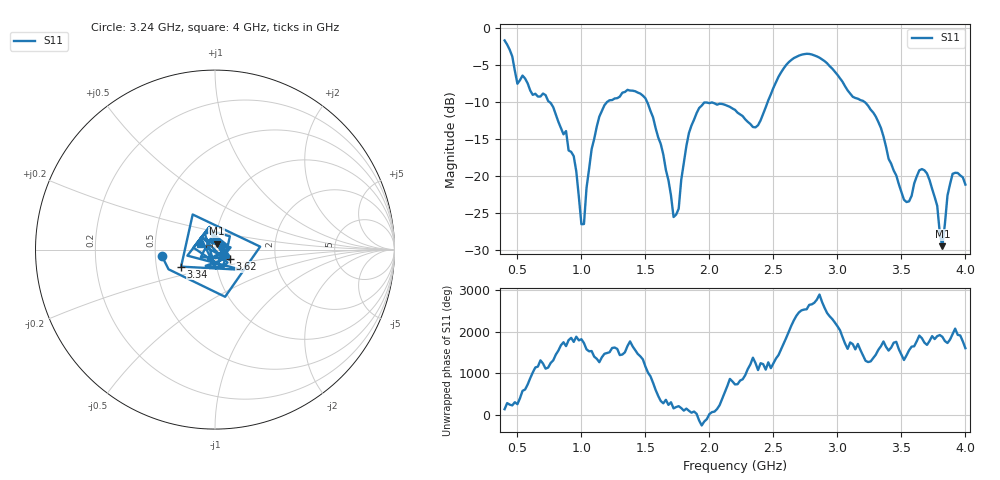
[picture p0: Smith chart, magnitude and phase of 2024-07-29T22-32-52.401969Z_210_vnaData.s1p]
!Created with skrf (http://scikit-rf.org).
# Hz S RI R 50.0
!freq ReS11 ImS11
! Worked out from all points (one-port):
!   181 points, 400 MHz to 4 GHz, reference 50 ohm
!   lowest |S11| = -29.5 dB at 3.82 GHz (marker M1), VSWR 1.07, Z = 50.8 + j3.27 ohm
!   |S11| at or under -10 dB: 751.6 MHz to 1.199 GHz (447.5 MHz wide, 45.9 % of centre); 1.514 GHz to 2.455 GHz (940.7 MHz wide, 47.4 % of centre); 3.214 GHz to end of sweep
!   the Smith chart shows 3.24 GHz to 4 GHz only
!   S11 on the Smith chart (normalised r, x): 3.24 GHz: 0.54, -0.04; 3.34 GHz: 0.67, -0.13; 3.62 GHz: 1.18, -0.12; 4 GHz: 0.85, +0.05
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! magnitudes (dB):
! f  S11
! 400 MHz  -1.6
! 500 MHz  -7.5
! 720 MHz  -9.0
! 860 MHz  -14.4
! 940 MHz  -17.3
! 1 GHz  -26.6
! 1.02 GHz  -26.5
! 1.08 GHz  -16.4
! 1.14 GHz  -12.0
! 1.3 GHz  -9.2
! 1.5 GHz  -9.5
! 1.64 GHz  -17.1
! 1.72 GHz  -25.6
! 1.76 GHz  -24.5
! 1.84 GHz  -14.2
! 1.92 GHz  -10.8
! 2.2 GHz  -11.0
! 2.38 GHz  -13.1
! 2.66 GHz  -4.0
! 3.1 GHz  -8.8
! 3.24 GHz  -10.5
! 3.34 GHz  -13.5
! 3.56 GHz  -23.5
! 3.62 GHz  -20.1
! 3.72 GHz  -20.6
! 3.82 GHz  -29.5
! 3.9 GHz  -19.7
! 4 GHz  -21.2
